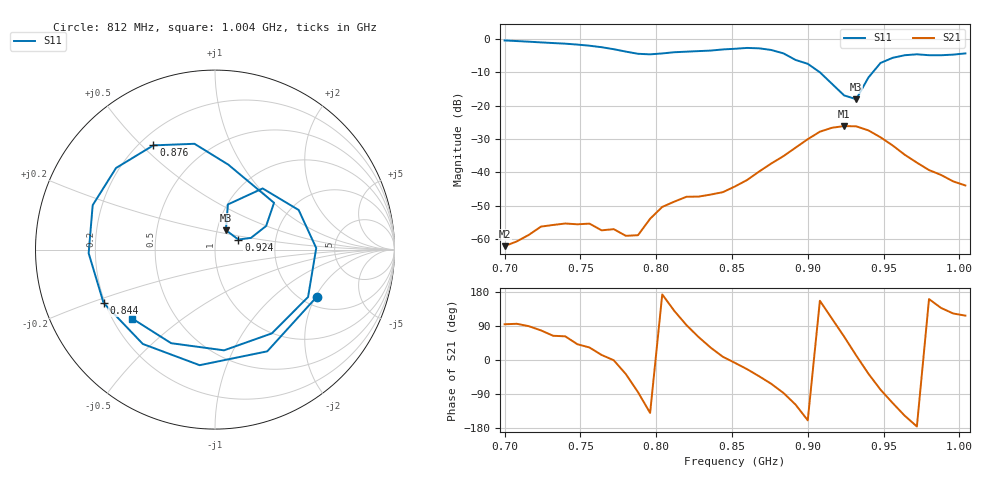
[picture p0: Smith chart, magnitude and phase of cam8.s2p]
# Hz S RI R 50
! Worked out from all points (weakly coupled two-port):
!   39 points, 700 MHz to 1.004 GHz, reference 50 ohm
!   highest |S21| = -26.14 dB at 924 MHz (marker M1); lowest = -62.0 dB at 700 MHz (marker M2)
!   lowest |S11| = -18.1 dB at 932 MHz (marker M3), VSWR 1.28, Z = 55.1 + j12.1 ohm
!   |S11| at or under -10 dB: 907.8 MHz to 943 MHz (35.25 MHz wide, 3.81 % of centre)
!   S12 and S22 are empty: the file has one direction only
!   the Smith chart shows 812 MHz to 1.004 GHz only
!   S11 on the Smith chart (normalised r, x): 812 MHz: 2.37, -2.05; 844 MHz: 0.19, -0.22; 876 MHz: 0.25, +0.54; 924 MHz: 1.29, +0.15; 1.004 GHz: 0.28, -0.34
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7e8  0.7564 0.5532  -5.89e-05 0.000791  0 0  0 0
7.24e8  0.8428 -0.2416  0.000321 0.00152  0 0  0 0
7.4e8  0.4594 -0.7022  0.000799 0.00153  0 0  0 0
7.56e8  -0.1894 -0.7587  0.00144 0.000938  0 0  0 0
7.72e8  -0.6631 -0.2032  0.00142 -1.73e-05  0 0  0 0
7.8e8  -0.6008 0.2166  0.000901 -0.000685  0 0  0 0
7.88e8  -0.2627 0.5309  0.000104 -0.00115  0 0  0 0
7.96e8  0.2256 0.5357  -0.00155 -0.00132  0 0  0 0
8.04e8  0.5681 0.1922  -0.00304 0.000371  0 0  0 0
8.12e8  0.5668 -0.2633  -0.00233 0.00284  0 0  0 0
8.28e8  -0.0856 -0.644  0.00215 0.0038  0 0  0 0
8.44e8  -0.621 -0.2968  0.00503 0.000746  0 0  0 0
8.52e8  -0.7039 -0.0202  0.00613 -0.000824  0 0  0 0
8.76e8  -0.3436 0.5807  0.00618 -0.0122  0 0  0 0
9e8  0.329 0.2608  -0.0294 -0.0112  0 0  0 0
9.08e8  0.2848 0.1314  -0.0372 0.0163  0 0  0 0
9.24e8  0.13 0.056  0.0234 0.0434  0 0  0 0
9.32e8  0.0607 0.1085  0.0479 0.00994  0 0  0 0
9.48e8  0.2654 0.3407  0.00681 -0.0328  0 0  0 0
9.56e8  0.4662 0.2206  -0.0101 -0.0232  0 0  0 0
9.8e8  0.3167 -0.4668  -0.0103 0.00359  0 0  0 0
1.004e9  -0.4612 -0.3841  -0.00291 0.00569  0 0  0 0
